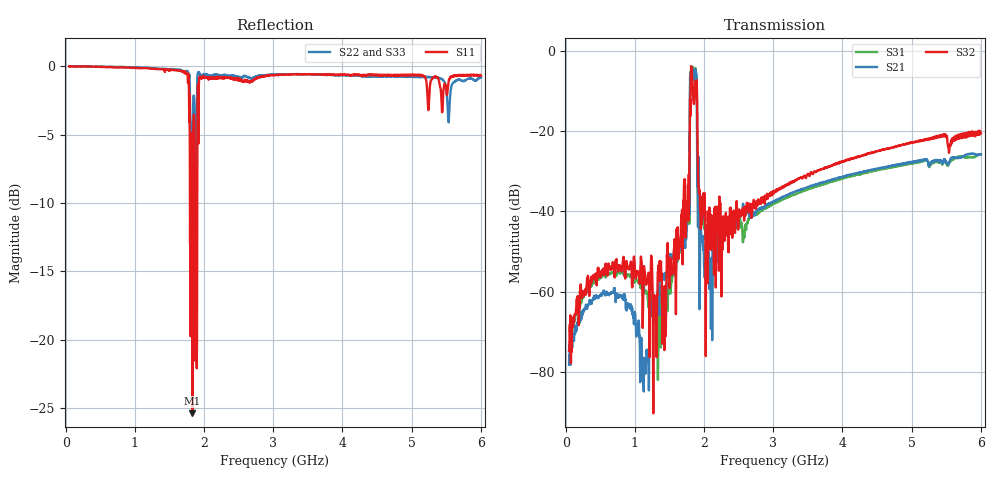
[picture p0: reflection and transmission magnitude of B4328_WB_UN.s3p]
! Matrix data file written by TouchstoneData, EPCOS AG
! FILENAME: "ansys_B4328_WB.s3p"
! COMMENT: "(B4328_WB.s3p) Epcos AG 7/1/2013 1:54:38 PM"
! INFO: nport=3, nfreq=1601
! DATE: "Mon Jul  8 13:10:58 2013"
! USER: "Daniel Harbusch"
! port | pin | signal
!  1  |  1  |  Input
!  2  |  3  |  Output balanced
!  3  |  4  |  Output balanced
# MHZ S MA R 50
! freq  magS11 angS11  magS12 angS12  magS13 angS13  ...
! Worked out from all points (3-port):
!   1601 points, 50 MHz to 6 GHz, reference 50 ohm
!   strongest paths, dB at 50 MHz, 1.538 GHz, 3.025 GHz, 4.513 GHz, 6 GHz:
!     S32: -74.6, -55.1, -35.1, -25.0, -20.6
!     S21: -78.1, -51.3, -37.4, -29.3, -25.8
!     S31: -74.8, -56.6, -38.0, -29.6, -25.8
!   lowest |S11| = -25.4 dB at 1.831 GHz (marker M1), VSWR 1.11, Z = 45.1 + j1.46 ohm
!   |S11| at or under -10 dB: 1.828 GHz to 1.837 GHz (9.759 MHz wide, 0.533 % of centre); 1.869 GHz to 1.881 GHz (11.47 MHz wide, 0.612 % of centre); 1.891 GHz to 1.901 GHz (10.58 MHz wide, 0.558 % of centre) (the widest 3 of 5)
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50  0.998 -3.4  0.0001109 77.5  0.0002732 68.4
    0.0001242 97.8  0.9995 -2.0  0.0002486 115.9
    0.0001828 61.6  0.0001854 106.8  0.9983 -2.0
682.1875  0.9893 -43.3  0.0009703 58.4  0.001761 55.6
          0.0009858 58.1  0.9941 -26.1  0.002379 63.0
          0.001746 55.0  0.002353 63.3  0.9919 -25.9
1135.875  0.9837 -68.4  0.0001367 -178.2  0.00107 34.2
          0.0001118 -172.6  0.9879 -42.5  0.001979 58.0
          0.001067 35.1  0.001986 58.2  0.9854 -42.5
1399.906  0.9737 -82.9  0.001671 -164.3  0.0002947 123.0
          0.001679 -165.2  0.9786 -52.8  0.0002382 11.1
          0.0002894 117.4  0.0002267 11.6  0.9768 -52.6
1749.469  0.9445 -122.5  0.006366 172.5  0.007082 158.8
          0.006348 172.5  0.9617 -77.6  0.01019 -170.7
          0.00708 158.9  0.01015 -170.7  0.9602 -79.4
1831.281  0.05395 162.6  0.583 -83.6  0.6325 98.0
          0.5818 -83.6  0.5411 -54.2  0.4239 -39.0
          0.633 98.1  0.4241 -38.9  0.4748 -52.4
1931.688  0.9113 -49.2  0.004225 -116.8  0.002196 164.6
          0.004223 -117.2  0.9476 -43.5  0.01703 -150.2
          0.00222 164.8  0.01706 -150.1  0.9507 -44.5
2091.594  0.9091 -89.5  0.001612 142.9  0.006212 -178.6
          0.001608 143.8  0.9204 -61.5  0.009255 126.4
          0.006202 -178.5  0.009265 126.4  0.9121 -62.4
3025  0.9273 -119.9  0.01356 161.1  0.01259 159.3
      0.01351 161.1  0.9314 -86.7  0.01752 171.6
      0.01259 159.4  0.01759 171.6  0.9304 -89.0
6000  0.9227 -175.7  0.05141 102.9  0.05132 101.7
      0.0513 102.8  0.9089 -148.2  0.09329 117.9
      0.05146 101.7  0.09346 117.8  0.9073 -150.7
